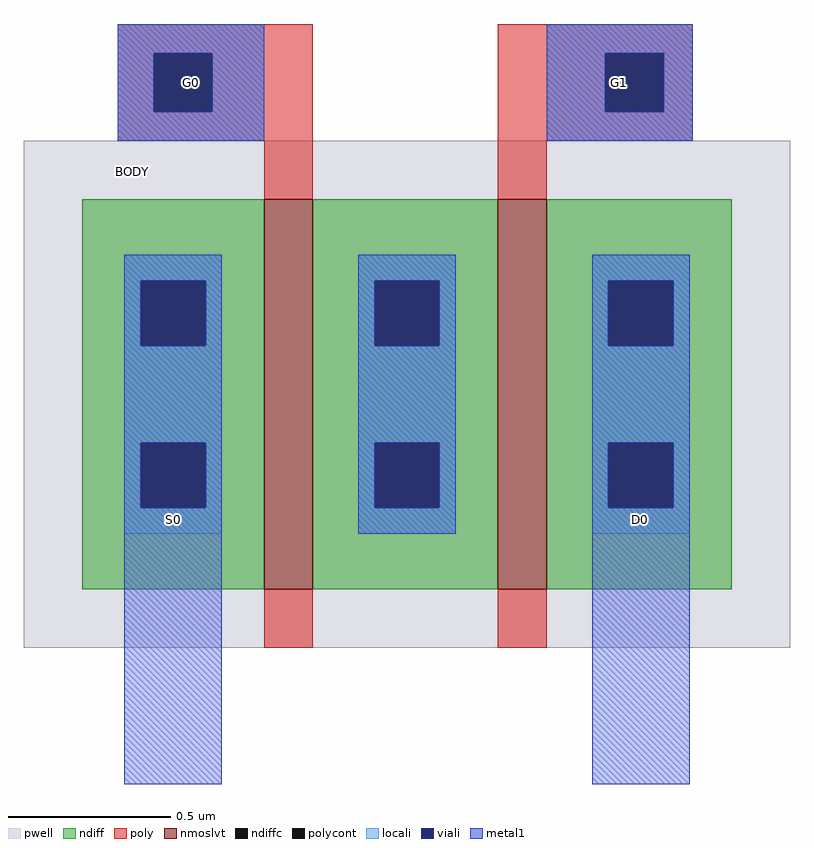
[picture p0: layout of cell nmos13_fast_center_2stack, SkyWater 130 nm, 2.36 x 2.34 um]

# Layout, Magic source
magic
tech sky130A
<< pwell >>
rect -46 186 190 342
<< nmoslvt >>
rect 28 204 43 324
rect 100 204 115 324
<< ndiff >>
rect -28 299 28 324
rect -28 279 -10 299
rect 10 279 28 299
rect -28 249 28 279
rect -28 229 -10 249
rect 10 229 28 249
rect -28 204 28 229
rect 43 299 100 324
rect 43 279 62 299
rect 82 279 100 299
rect 43 249 100 279
rect 43 229 62 249
rect 82 229 100 249
rect 43 204 100 229
rect 115 299 172 324
rect 115 279 134 299
rect 154 279 172 299
rect 115 249 172 279
rect 115 229 134 249
rect 154 229 172 249
rect 115 204 172 229
<< ndiffc >>
rect -10 279 10 299
rect -10 229 10 249
rect 62 279 82 299
rect 62 229 82 249
rect 134 279 154 299
rect 134 229 154 249
<< poly >>
rect -17 369 43 378
rect -17 351 -6 369
rect 12 351 43 369
rect -17 342 43 351
rect 28 324 43 342
rect 100 369 160 378
rect 100 351 133 369
rect 151 351 160 369
rect 100 342 160 351
rect 100 324 115 342
rect 28 186 43 204
rect 100 186 115 204
<< polycont >>
rect -6 351 12 369
rect 133 351 151 369
<< locali >>
rect -17 369 28 378
rect -17 351 -6 369
rect 12 351 28 369
rect -17 342 28 351
rect 115 369 160 378
rect 115 351 133 369
rect 151 351 160 369
rect 115 342 160 351
rect -15 299 15 307
rect -15 279 -10 299
rect 10 279 15 299
rect -15 249 15 279
rect -15 229 -10 249
rect 10 229 15 249
rect -15 221 15 229
rect 57 299 87 307
rect 57 279 62 299
rect 82 279 87 299
rect 57 249 87 279
rect 57 229 62 249
rect 82 229 87 249
rect 57 221 87 229
rect 129 299 159 307
rect 129 279 134 299
rect 154 279 159 299
rect 129 249 159 279
rect 129 229 134 249
rect 154 229 159 249
rect 129 221 159 229
<< viali >>
rect -6 351 12 369
rect 133 351 151 369
rect -10 279 10 299
rect -10 229 10 249
rect 62 279 82 299
rect 62 229 82 249
rect 134 279 154 299
rect 134 229 154 249
<< metal1 >>
rect -17 369 28 378
rect -17 351 -6 369
rect 12 351 28 369
rect -17 342 28 351
rect 115 369 160 378
rect 115 351 133 369
rect 151 351 160 369
rect 115 342 160 351
rect -15 299 15 307
rect -15 279 -10 299
rect 10 279 15 299
rect -15 249 15 279
rect -15 229 -10 249
rect 10 229 15 249
rect -15 144 15 229
rect 57 299 87 307
rect 57 279 62 299
rect 82 279 87 299
rect 57 249 87 279
rect 57 229 62 249
rect 82 229 87 249
rect 57 221 87 229
rect 129 299 159 307
rect 129 279 134 299
rect 154 279 159 299
rect 129 249 159 279
rect 129 229 134 249
rect 154 229 159 249
rect 129 144 159 229
<< labels >>
flabel metal1 -17 342 28 378 0 FreeSans 80 0 0 0 G0
port 2 nsew
flabel metal1 115 342 160 378 0 FreeSans 80 0 0 0 G1
port 3 nsew
flabel metal1 -15 144 15 307 0 FreeSans 80 0 0 0 S0
port 4 nsew
rlabel pwell -20 327 -5 338 1 BODY
port 6 nsew
flabel metal1 129 144 159 307 0 FreeSans 80 0 0 0 D0
port 1 e
<< end >>
